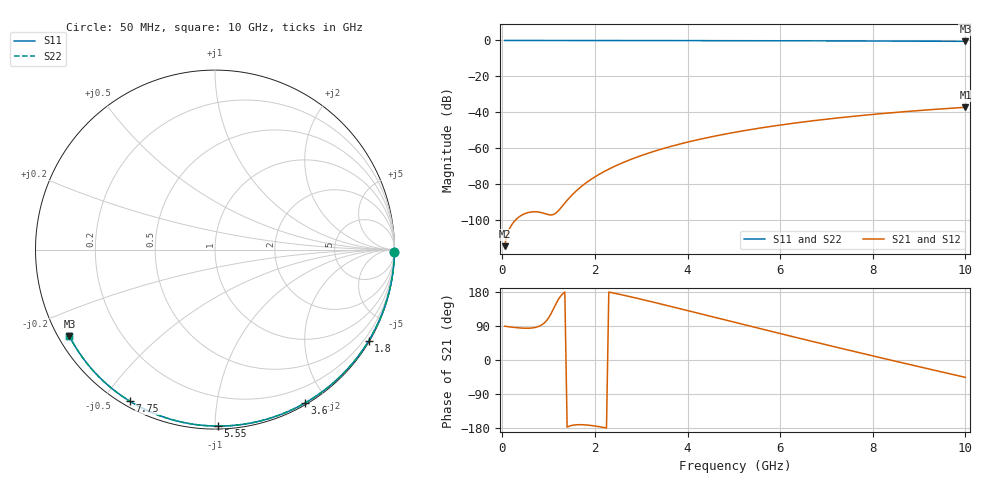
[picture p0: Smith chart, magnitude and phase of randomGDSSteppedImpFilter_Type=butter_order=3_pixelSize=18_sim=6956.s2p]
! freq	dB(S11)	phase(S11)	dB(S12)	phase(S12)
!  dB(S21)	phase(S21)	dB(S22)	phase(S22)
!S-par simulation data
#  GHz  S  DB  R 50
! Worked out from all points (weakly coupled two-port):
!   200 points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, 50 MHz to 10 GHz, reference 50 ohm
!   highest |S21| = -37.21 dB at 10 GHz (marker M1); lowest = -114.5 dB at 50 MHz (marker M2)
!   lowest |S11| = -0.5 dB at 10 GHz (marker M3), VSWR 34.63, Z = 1.55 - j13.8 ohm
!   |S11| at or under -10 dB: nowhere
!   |S22| runs from -0.5 to 0.0 dB; largest |S21 - S12| = 0
!   S11 on the Smith chart (normalised r, x): 50 MHz: open; 1.8 GHz: 0.03, -3.65; 3.6 GHz: 0.02, -1.74; 5.55 GHz: 0.02, -1.02; 7.75 GHz: 0.02, -0.58; 10 GHz: 0.03, -0.28
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0.05  -0.00 -0.9  -114.48 89.2  -114.48 89.2  -0.00 -0.9
0.45  -0.01 -7.8  -96.81 84.0  -96.81 84.0  -0.01 -7.8
0.9  -0.02 -15.5  -96.19 97.0  -96.19 97.0  -0.02 -15.5
1.3  -0.03 -22.3  -92.05 174.1  -92.05 174.1  -0.03 -22.3
1.75  -0.04 -29.8  -80.38 -170.9  -80.38 -170.9  -0.04 -29.8
1.8  -0.04 -30.7  -79.40 -171.3  -79.40 -171.3  -0.04 -30.7
1.95  -0.04 -33.2  -76.73 -173.3  -76.73 -173.3  -0.04 -33.2
2.1  -0.05 -35.6  -74.38 -176.1  -74.38 -176.1  -0.05 -35.6
2.3  -0.05 -38.9  -71.61 179.3  -71.61 179.3  -0.05 -38.9
2.5  -0.05 -42.2  -69.16 174.2  -69.16 174.2  -0.05 -42.2
2.9  -0.06 -48.7  -64.98 163.2  -64.98 163.2  -0.06 -48.7
3.4  -0.07 -56.6  -60.73 148.5  -60.73 148.5  -0.07 -56.6
3.6  -0.08 -59.8  -59.25 142.5  -59.25 142.5  -0.08 -59.8
4.3  -0.10 -70.5  -54.80 121.3  -54.80 121.3  -0.10 -70.5
5.05  -0.12 -81.7  -50.97 98.5  -50.97 98.5  -0.12 -81.7
5.55  -0.15 -89.0  -48.81 83.3  -48.81 83.3  -0.15 -89.0
6.1  -0.17 -96.8  -46.72 66.8  -46.72 66.8  -0.17 -96.8
6.7  -0.20 -105.1  -44.72 48.9  -44.72 48.9  -0.20 -105.1
7.75  -0.28 -119.3  -41.78 18.1  -41.78 18.1  -0.28 -119.3
8.35  -0.33 -127.3  -40.36 0.8  -40.36 0.8  -0.33 -127.3
9.2  -0.41 -138.6  -38.61 -23.4  -38.61 -23.4  -0.41 -138.6
10  -0.50 -149.2  -37.21 -45.8  -37.21 -45.8  -0.50 -149.2
